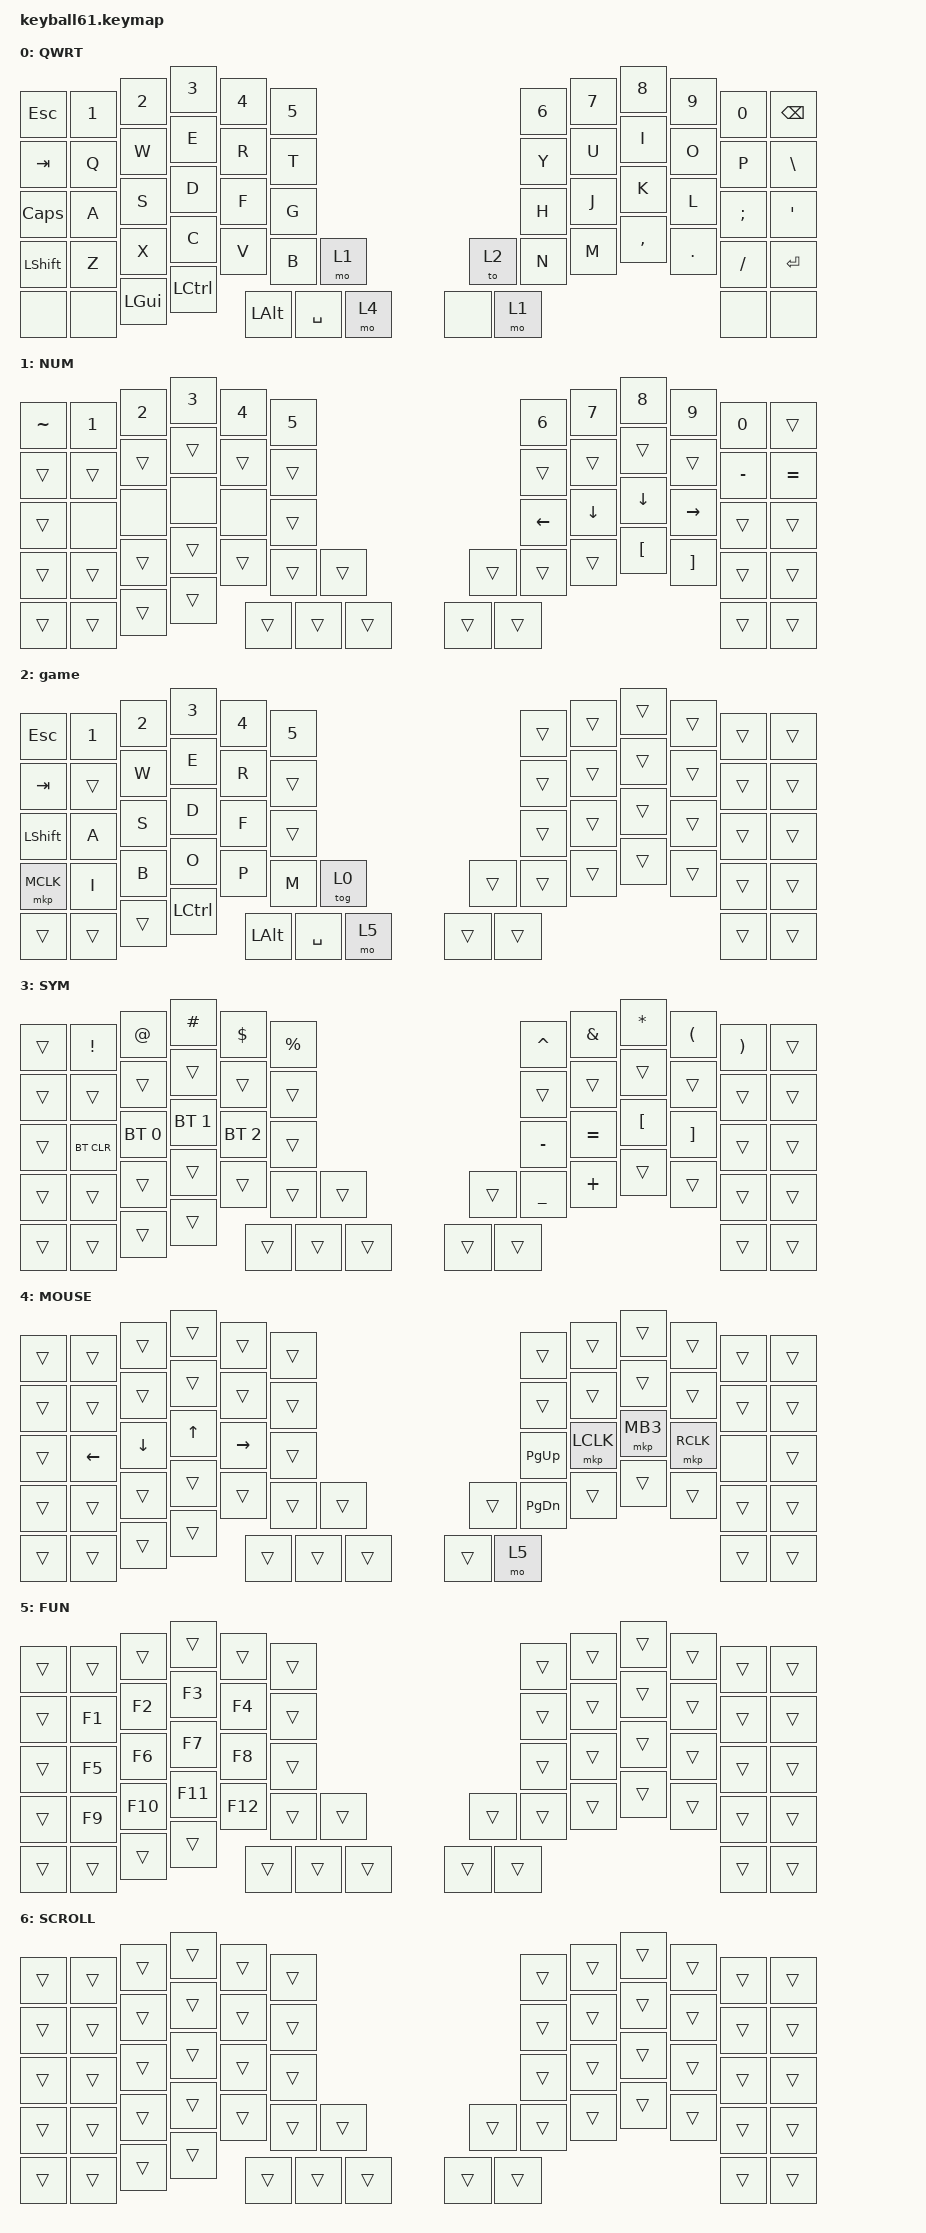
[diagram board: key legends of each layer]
#define DEFAULT 0
#define SYM     1
#define FUN     2
#define MOUSE   3
#define SCROLL  4
#define SNIPE   5

#include <behaviors/mouse_keys.dtsi>
#include <dt-bindings/zmk/mouse.h>
#include <behaviors.dtsi>
#include <dt-bindings/zmk/bt.h>
#include <dt-bindings/zmk/keys.h>
#include <dt-bindings/zmk/pointing.h>

&lt {
    tapping-term-ms = <240>;
    flavor = "balanced";
    quick-tap-ms = <150>;
};

&mt {
    tapping-term-ms = <200>;
    flavor = "tap-preferred";
    quick-tap-ms = <150>;
};

/ {
    keymap {
        compatible = "zmk,keymap";

        default_layer {
            label = "QWRT";
            bindings = <
&kp ESC         &kp N1  &kp N2        &kp N3            &kp N4        &kp N5                   &kp N6  &kp N7  &kp N8     &kp N9   &kp N0    &kp BSPC
&kp TAB         &kp Q   &kp W         &kp E             &kp R         &kp T                    &kp Y   &kp U   &kp I      &kp O    &kp P     &kp BACKSLASH
&kp CLCK        &kp A   &kp S         &kp D             &kp F         &kp G                    &kp H   &kp J   &kp K      &kp L    &kp SEMI  &kp SQT
&kp LEFT_SHIFT  &kp Z   &kp X         &kp C             &kp V         &kp B      &mo 1  &to 2  &kp N   &kp M   &kp COMMA  &kp DOT  &kp FSLH  &kp ENTER
&none           &none   &kp LEFT_GUI  &kp LEFT_CONTROL  &kp LEFT_ALT  &kp SPACE  &mo 4  &none  &mo 1                               &none     &none
            >;
        };

        number_layer {
            bindings = <
&kp TILDE  &kp N1  &kp N2  &kp N3  &kp N4  &kp N5                  &kp N6    &kp N7    &kp N8            &kp N9             &kp N0     &trans
&trans     &trans  &trans  &trans  &trans  &trans                  &trans    &trans    &trans            &trans             &kp MINUS  &kp EQUAL
&trans     &none   &none   &none   &none   &trans                  &kp LEFT  &kp DOWN  &kp DOWN_ARROW    &kp RIGHT          &trans     &trans
&trans     &trans  &trans  &trans  &trans  &trans  &trans  &trans  &trans    &trans    &kp LEFT_BRACKET  &kp RIGHT_BRACKET  &trans     &trans
&trans     &trans  &trans  &trans  &trans  &trans  &trans  &trans  &trans                                                   &trans     &trans
            >;

            label = "NUM";
        };

        game_layer {
            label = "game";
            bindings = <
&kp ESC         &kp NUMBER_1  &kp NUMBER_2  &kp NUMBER_3  &kp NUMBER_4  &kp N5                     &trans  &trans  &trans  &trans  &trans  &trans
&kp TAB         &trans        &kp W         &kp E         &kp R         &trans                     &trans  &trans  &trans  &trans  &trans  &trans
&kp LEFT_SHIFT  &kp A         &kp S         &kp D         &kp F         &trans                     &trans  &trans  &trans  &trans  &trans  &trans
&mkp MCLK       &kp I         &kp B         &kp O         &kp P         &kp M      &tog 0  &trans  &trans  &trans  &trans  &trans  &trans  &trans
&trans          &trans        &trans        &kp LCTRL     &kp LEFT_ALT  &kp SPACE  &mo 5   &trans  &trans                          &trans  &trans
            >;
        };

        symbol_layer {
            label = "SYM";
            bindings = <
&trans  &kp EXCLAMATION  &kp AT_SIGN   &kp HASH      &kp DOLLAR    &kp PERCENT                  &kp CARET       &kp AMPERSAND  &kp ASTERISK      &kp LEFT_PARENTHESIS  &kp RIGHT_PARENTHESIS  &trans
&trans  &trans           &trans        &trans        &trans        &trans                       &trans          &trans         &trans            &trans                &trans                 &trans
&trans  &bt BT_CLR       &bt BT_SEL 0  &bt BT_SEL 1  &bt BT_SEL 2  &trans                       &kp MINUS       &kp EQUAL      &kp LEFT_BRACKET  &kp RIGHT_BRACKET     &trans                 &trans
&trans  &trans           &trans        &trans        &trans        &trans       &trans  &trans  &kp UNDERSCORE  &kp PLUS       &trans            &trans                &trans                 &trans
&trans  &trans           &trans        &trans        &trans        &trans       &trans  &trans  &trans                                                                 &trans                 &trans
            >;
        };

        mouse_layer {
            label = "MOUSE";
            bindings = <
&trans  &trans    &trans    &trans  &trans     &trans                  &trans         &trans     &trans    &trans     &trans  &trans
&trans  &trans    &trans    &trans  &trans     &trans                  &trans         &trans     &trans    &trans     &trans  &trans
&trans  &kp LEFT  &kp DOWN  &kp UP  &kp RIGHT  &trans                  &kp PAGE_UP    &mkp LCLK  &mkp MB3  &mkp RCLK  &none   &trans
&trans  &trans    &trans    &trans  &trans     &trans  &trans  &trans  &kp PAGE_DOWN  &trans     &trans    &trans     &trans  &trans
&trans  &trans    &trans    &trans  &trans     &trans  &trans  &trans  &mo 5                                          &trans  &trans
            >;
        };

        function_layer {
            label = "FUN";
            bindings = <
&trans  &trans  &trans   &trans   &trans   &trans                  &trans  &trans  &trans  &trans  &trans  &trans
&trans  &kp F1  &kp F2   &kp F3   &kp F4   &trans                  &trans  &trans  &trans  &trans  &trans  &trans
&trans  &kp F5  &kp F6   &kp F7   &kp F8   &trans                  &trans  &trans  &trans  &trans  &trans  &trans
&trans  &kp F9  &kp F10  &kp F11  &kp F12  &trans  &trans  &trans  &trans  &trans  &trans  &trans  &trans  &trans
&trans  &trans  &trans   &trans   &trans   &trans  &trans  &trans  &trans                          &trans  &trans
            >;
        };

        scroll_layer {
            label = "SCROLL";
            bindings = <
&trans  &trans  &trans  &trans  &trans  &trans                  &trans  &trans  &trans  &trans  &trans  &trans
&trans  &trans  &trans  &trans  &trans  &trans                  &trans  &trans  &trans  &trans  &trans  &trans
&trans  &trans  &trans  &trans  &trans  &trans                  &trans  &trans  &trans  &trans  &trans  &trans
&trans  &trans  &trans  &trans  &trans  &trans  &trans  &trans  &trans  &trans  &trans  &trans  &trans  &trans
&trans  &trans  &trans  &trans  &trans  &trans  &trans  &trans  &trans                          &trans  &trans
            >;
        };
    };
};
